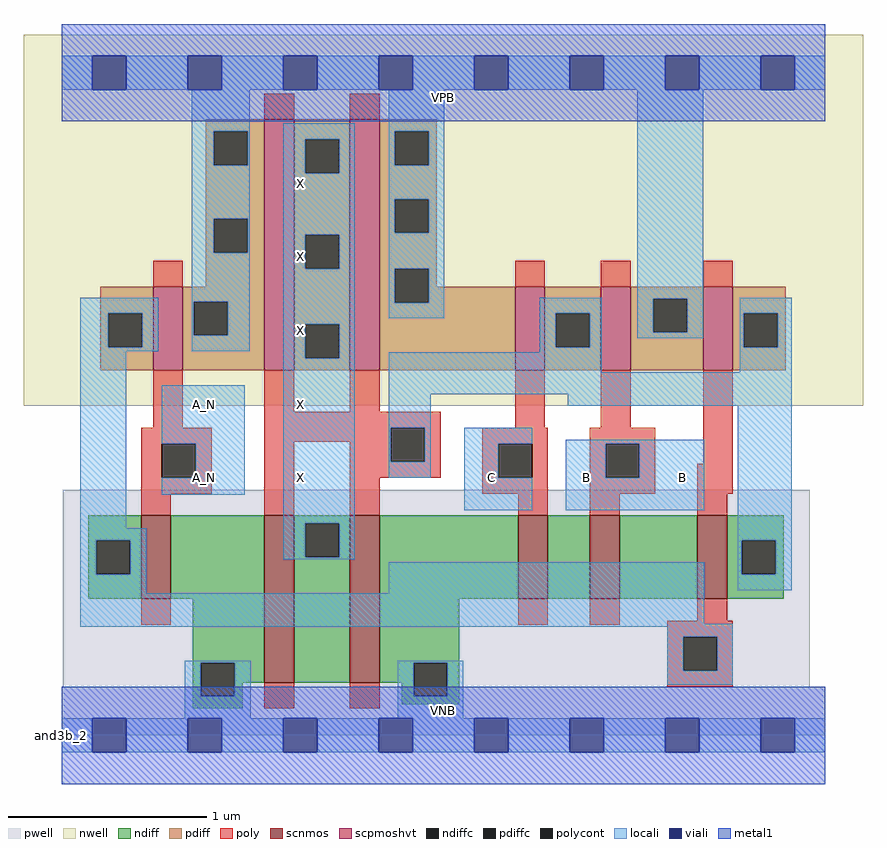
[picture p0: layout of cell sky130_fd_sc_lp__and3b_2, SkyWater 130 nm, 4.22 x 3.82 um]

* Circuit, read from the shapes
.subckt sky130_fd_sc_lp__and3b_2 A_N B C VGND VNB VPB VPWR X
XM1 VGND A_N n1 VNB sky130_fd_pr__nfet_01v8 w=0.42 l=0.15
XM2 X n2 VGND VNB sky130_fd_pr__nfet_01v8 w=0.84 l=0.15 m=2
XM3 n3 C VGND VNB sky130_fd_pr__nfet_01v8 w=0.42 l=0.15
XM4 n4 B n3 VNB sky130_fd_pr__nfet_01v8 w=0.42 l=0.15
XM5 n2 n1 n4 VNB sky130_fd_pr__nfet_01v8 w=0.42 l=0.15
XM6 VPWR A_N n1 VPB sky130_fd_pr__pfet_01v8_hvt w=0.42 l=0.15
XM7 X n2 VPWR VPB sky130_fd_pr__pfet_01v8_hvt w=1.26 l=0.15 m=2
XM8 n2 C VPWR VPB sky130_fd_pr__pfet_01v8_hvt w=0.42 l=0.15
XM9 VPWR B n2 VPB sky130_fd_pr__pfet_01v8_hvt w=0.42 l=0.15
XM10 n2 n1 VPWR VPB sky130_fd_pr__pfet_01v8_hvt w=0.42 l=0.15
.ends

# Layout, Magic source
magic
tech sky130A
magscale 1 2
<< nwell >>
rect -38 331 806 704
<< pwell >>
rect 1 49 752 247
rect 0 0 768 49
<< scnmos >>
rect 80 137 110 221
rect 204 53 234 221
rect 290 53 320 221
rect 459 137 489 221
rect 531 137 561 221
rect 639 137 669 221
<< scpmoshvt >>
rect 92 367 122 451
rect 204 367 234 619
rect 290 367 320 619
rect 456 367 486 451
rect 542 367 572 451
rect 645 367 675 451
<< ndiff >>
rect 27 196 80 221
rect 27 162 35 196
rect 69 162 80 196
rect 27 137 80 162
rect 110 137 204 221
rect 132 73 204 137
rect 132 39 140 73
rect 174 53 204 73
rect 234 213 290 221
rect 234 179 245 213
rect 279 179 290 213
rect 234 53 290 179
rect 320 137 459 221
rect 489 137 531 221
rect 561 137 639 221
rect 669 196 726 221
rect 669 162 684 196
rect 718 162 726 196
rect 669 137 726 162
rect 320 73 400 137
rect 320 53 354 73
rect 174 39 182 53
rect 132 27 182 39
rect 342 39 354 53
rect 388 39 400 73
rect 342 31 400 39
<< pdiff >>
rect 145 607 204 619
rect 145 573 153 607
rect 187 573 204 607
rect 145 519 204 573
rect 145 485 153 519
rect 187 485 204 519
rect 145 451 204 485
rect 39 424 92 451
rect 39 390 47 424
rect 81 390 92 424
rect 39 367 92 390
rect 122 436 204 451
rect 122 402 133 436
rect 167 402 204 436
rect 122 367 204 402
rect 234 599 290 619
rect 234 565 245 599
rect 279 565 290 599
rect 234 503 290 565
rect 234 469 245 503
rect 279 469 290 503
rect 234 413 290 469
rect 234 379 245 413
rect 279 379 290 413
rect 234 367 290 379
rect 320 607 377 619
rect 320 573 335 607
rect 369 573 377 607
rect 320 539 377 573
rect 320 505 335 539
rect 369 505 377 539
rect 320 469 377 505
rect 320 435 335 469
rect 369 451 377 469
rect 369 435 456 451
rect 320 367 456 435
rect 486 424 542 451
rect 486 390 497 424
rect 531 390 542 424
rect 486 367 542 390
rect 572 439 645 451
rect 572 405 595 439
rect 629 405 645 439
rect 572 367 645 405
rect 675 424 728 451
rect 675 390 686 424
rect 720 390 728 424
rect 675 367 728 390
<< ndiffc >>
rect 35 162 69 196
rect 140 39 174 73
rect 245 179 279 213
rect 684 162 718 196
rect 354 39 388 73
<< pdiffc >>
rect 153 573 187 607
rect 153 485 187 519
rect 47 390 81 424
rect 133 402 167 436
rect 245 565 279 599
rect 245 469 279 503
rect 245 379 279 413
rect 335 573 369 607
rect 335 505 369 539
rect 335 435 369 469
rect 497 390 531 424
rect 595 405 629 439
rect 686 390 720 424
<< poly >>
rect 204 619 234 645
rect 290 619 320 645
rect 92 451 122 477
rect 456 451 486 477
rect 542 451 572 477
rect 645 451 675 477
rect 92 309 122 367
rect 204 325 234 367
rect 290 325 320 367
rect 204 309 381 325
rect 456 309 486 367
rect 542 309 572 367
rect 80 293 151 309
rect 80 259 101 293
rect 135 259 151 293
rect 80 243 151 259
rect 204 295 331 309
rect 80 221 110 243
rect 204 221 234 295
rect 290 275 331 295
rect 365 275 381 309
rect 290 259 381 275
rect 423 293 489 309
rect 423 259 439 293
rect 473 259 489 293
rect 290 221 320 259
rect 423 243 489 259
rect 459 221 489 243
rect 531 293 597 309
rect 531 259 547 293
rect 581 259 597 293
rect 645 273 675 367
rect 531 243 597 259
rect 639 243 675 273
rect 531 221 561 243
rect 639 221 669 243
rect 80 111 110 137
rect 459 111 489 137
rect 531 111 561 137
rect 639 115 669 137
rect 204 27 234 53
rect 290 27 320 53
rect 609 99 675 115
rect 609 65 625 99
rect 659 65 675 99
rect 609 49 675 65
<< polycont >>
rect 101 259 135 293
rect 331 275 365 309
rect 439 259 473 293
rect 547 259 581 293
rect 625 65 659 99
<< locali >>
rect 0 649 31 683
rect 65 649 127 683
rect 161 649 223 683
rect 257 649 319 683
rect 353 649 415 683
rect 449 649 511 683
rect 545 649 607 683
rect 641 649 703 683
rect 737 649 768 683
rect 131 607 189 649
rect 131 573 153 607
rect 187 573 189 607
rect 131 519 189 573
rect 131 485 153 519
rect 187 485 189 519
rect 19 424 97 440
rect 19 390 47 424
rect 81 390 97 424
rect 19 386 97 390
rect 131 436 189 485
rect 131 402 133 436
rect 167 402 189 436
rect 131 386 189 402
rect 223 599 295 615
rect 223 565 245 599
rect 279 565 295 599
rect 223 503 295 565
rect 223 469 245 503
rect 279 469 295 503
rect 223 413 295 469
rect 329 607 385 649
rect 329 573 335 607
rect 369 573 385 607
rect 329 539 385 573
rect 329 505 335 539
rect 369 505 385 539
rect 329 469 385 505
rect 329 435 335 469
rect 369 435 385 469
rect 329 419 385 435
rect 481 424 543 440
rect 19 208 65 386
rect 223 379 245 413
rect 279 379 295 413
rect 481 390 497 424
rect 531 390 543 424
rect 579 439 645 649
rect 579 405 595 439
rect 629 405 645 439
rect 579 399 645 405
rect 682 424 734 440
rect 481 385 543 390
rect 101 293 184 352
rect 135 259 184 293
rect 101 242 184 259
rect 223 213 295 379
rect 329 365 543 385
rect 682 390 686 424
rect 720 390 734 424
rect 682 365 734 390
rect 329 343 734 365
rect 329 309 371 343
rect 509 331 734 343
rect 329 275 331 309
rect 365 275 371 309
rect 329 259 371 275
rect 405 293 473 309
rect 405 259 439 293
rect 405 226 473 259
rect 507 293 646 297
rect 507 259 547 293
rect 581 259 646 293
rect 507 226 646 259
rect 19 196 85 208
rect 19 162 35 196
rect 69 162 85 196
rect 223 179 245 213
rect 279 179 295 213
rect 223 177 295 179
rect 680 196 734 331
rect 19 143 85 162
rect 329 143 646 174
rect 680 162 684 196
rect 718 162 734 196
rect 680 146 734 162
rect 19 112 646 143
rect 19 109 675 112
rect 609 99 675 109
rect 124 73 190 75
rect 124 39 140 73
rect 174 39 190 73
rect 124 17 190 39
rect 338 73 404 75
rect 338 39 354 73
rect 388 39 404 73
rect 609 65 625 99
rect 659 65 675 99
rect 609 51 675 65
rect 338 17 404 39
rect 0 -17 31 17
rect 65 -17 127 17
rect 161 -17 223 17
rect 257 -17 319 17
rect 353 -17 415 17
rect 449 -17 511 17
rect 545 -17 607 17
rect 641 -17 703 17
rect 737 -17 768 17
<< viali >>
rect 31 649 65 683
rect 127 649 161 683
rect 223 649 257 683
rect 319 649 353 683
rect 415 649 449 683
rect 511 649 545 683
rect 607 649 641 683
rect 703 649 737 683
rect 31 -17 65 17
rect 127 -17 161 17
rect 223 -17 257 17
rect 319 -17 353 17
rect 415 -17 449 17
rect 511 -17 545 17
rect 607 -17 641 17
rect 703 -17 737 17
<< metal1 >>
rect 0 683 768 715
rect 0 649 31 683
rect 65 649 127 683
rect 161 649 223 683
rect 257 649 319 683
rect 353 649 415 683
rect 449 649 511 683
rect 545 649 607 683
rect 641 649 703 683
rect 737 649 768 683
rect 0 617 768 649
rect 0 17 768 49
rect 0 -17 31 17
rect 65 -17 127 17
rect 161 -17 223 17
rect 257 -17 319 17
rect 353 -17 415 17
rect 449 -17 511 17
rect 545 -17 607 17
rect 641 -17 703 17
rect 737 -17 768 17
rect 0 -49 768 -17
<< labels >>
flabel pwell s 0 0 768 49 0 FreeSans 200 0 0 0 VNB
port 5 nsew ground bidirectional
flabel nwell s 0 617 768 666 0 FreeSans 200 0 0 0 VPB
port 6 nsew power bidirectional
rlabel comment s 0 0 0 0 4 and3b_2
flabel metal1 s 0 617 768 666 0 FreeSans 340 0 0 0 VPWR
port 7 nsew power bidirectional
flabel metal1 s 0 0 768 49 0 FreeSans 340 0 0 0 VGND
port 4 nsew ground bidirectional
flabel locali s 511 242 545 276 0 FreeSans 340 0 0 0 B
port 2 nsew signal input
flabel locali s 607 242 641 276 0 FreeSans 340 0 0 0 B
port 2 nsew signal input
flabel locali s 415 242 449 276 0 FreeSans 340 0 0 0 C
port 3 nsew signal input
flabel locali s 127 242 161 276 0 FreeSans 340 0 0 0 A_N
port 1 nsew signal input
flabel locali s 127 316 161 350 0 FreeSans 340 0 0 0 A_N
port 1 nsew signal input
flabel locali s 223 242 257 276 0 FreeSans 340 0 0 0 X
port 8 nsew signal output
flabel locali s 223 316 257 350 0 FreeSans 340 0 0 0 X
port 8 nsew signal output
flabel locali s 223 390 257 424 0 FreeSans 340 0 0 0 X
port 8 nsew signal output
flabel locali s 223 464 257 498 0 FreeSans 340 0 0 0 X
port 8 nsew signal output
flabel locali s 223 538 257 572 0 FreeSans 340 0 0 0 X
port 8 nsew signal output
<< properties >>
string LEFsite unit
string LEFclass CORE
string FIXED_BBOX 0 0 768 666
string GDS_FILE $PDKPATH/libs.ref/sky130_fd_sc_lp/gds/sky130_fd_sc_lp.gds
string LEFsymmetry X Y R90
string GDS_END 6379858
string GDS_START 6373092
<< end >>
